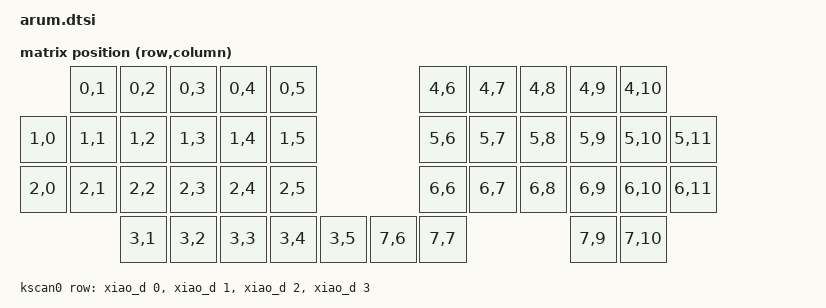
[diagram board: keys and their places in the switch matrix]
#include <dt-bindings/zmk/matrix_transform.h>

/ {

    chosen {
        zmk,ksacan = &kscan0;
        zmk,matrix_transform = &default_transform;
    };
    default_transform: keymap_transform_0 {
        compatible = "zmk,matrix-transform";
        columns = <12>;
        rows = <4>;
        map = <
                RC(0,1) RC(0,2) RC(0,3) RC(0,4) RC(0,5)                 RC(4,6) RC(4,7) RC(4,8) RC(4,9) RC(4,10)
        RC(1,0) RC(1,1) RC(1,2) RC(1,3) RC(1,4) RC(1,5)                 RC(5,6) RC(5,7) RC(5,8) RC(5,9) RC(5,10) RC(5,11)
        RC(2,0) RC(2,1) RC(2,2) RC(2,3) RC(2,4) RC(2,5)                 RC(6,6) RC(6,7) RC(6,8) RC(6,9) RC(6,10) RC(6,11)
                        RC(3,1) RC(3,2) RC(3,3) RC(3,4) RC(3,5) RC(7,6) RC(7,7)                 RC(7,9) RC(7,10)
        >;
    };
    kscan0: kscan {
        compatible = "zmk,kscan-gpio-matrix";
        label = "default_kscan";
        diode-direction = "col2row";
        debounce-press-ms = <1>;
        debounce-release-ms = <5>;
        row-gpios   = <&xiao_d 0 (GPIO_ACTIVE_HIGH | GPIO_PULL_DOWN)>
                    , <&xiao_d 1 (GPIO_ACTIVE_HIGH | GPIO_PULL_DOWN)>
                    , <&xiao_d 2 (GPIO_ACTIVE_HIGH | GPIO_PULL_DOWN)>
                    , <&xiao_d 3 (GPIO_ACTIVE_HIGH | GPIO_PULL_DOWN)>
                    ;
    };
};

&pinctrl {
	spi0_default: spi0_default {
		group1 {
			psels = <NRF_PSEL(SPIM_SCK, 0, 5)>,
				<NRF_PSEL(SPIM_MOSI, 0, 4)>,
				<NRF_PSEL(SPIM_MISO, 0, 8)>;
		};
	};
	spi0_sleep: spi0_sleep {
		group1 {
			psels = <NRF_PSEL(SPIM_SCK, 0, 5)>,
				<NRF_PSEL(SPIM_MOSI, 0, 4)>,
				<NRF_PSEL(SPIM_MISO, 0, 8)>;
			low-power-enable;
		};
	};	
};

&xiao_spi {
    status = "okay";
    cs-gpios = <&xiao_d 31 GPIO_ACTIVE_LOW>;

    shift_reg: 595@0 {
        compatible = "zmk,gpio-595";
        status = "okay";
        gpio-controller;
        spi-max-frequency = <2000000>;
        #gpio-cells = <2>;
        reg = <0>;
        label = "4HC595";
        ngpios = <8>;
  };
};

